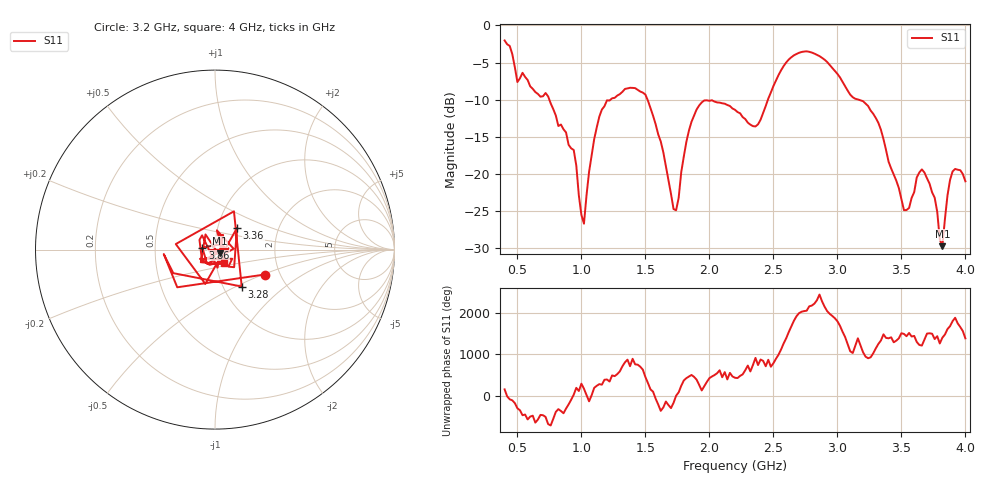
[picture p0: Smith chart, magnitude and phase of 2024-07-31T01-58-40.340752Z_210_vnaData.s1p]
!Created with skrf (http://scikit-rf.org).
# Hz S RI R 50.0
!freq ReS11 ImS11
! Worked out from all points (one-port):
!   181 points, 400 MHz to 4 GHz, reference 50 ohm
!   lowest |S11| = -29.7 dB at 3.82 GHz (marker M1), VSWR 1.07, Z = 52.6 - j2.08 ohm
!   |S11| at or under -10 dB: 749.4 MHz to 1.228 GHz (478.3 MHz wide, 48.4 % of centre); 1.516 GHz to 2.457 GHz (940.8 MHz wide, 47.3 % of centre); 3.166 GHz to end of sweep
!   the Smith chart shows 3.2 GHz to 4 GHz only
!   S11 on the Smith chart (normalised r, x): 3.2 GHz: 1.66, -0.51; 3.28 GHz: 1.22, -0.54; 3.36 GHz: 1.24, +0.31; 3.86 GHz: 0.87, +0.02; 4 GHz: 1.10, -0.16
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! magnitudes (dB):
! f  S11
! 400 MHz  -2.0
! 500 MHz  -7.6
! 720 MHz  -9.1
! 860 MHz  -14.0
! 940 MHz  -16.8
! 1.02 GHz  -26.7
! 1.14 GHz  -12.3
! 1.3 GHz  -9.3
! 1.5 GHz  -9.3
! 1.72 GHz  -24.7
! 1.76 GHz  -23.2
! 1.82 GHz  -15.7
! 1.92 GHz  -10.8
! 2.2 GHz  -11.4
! 2.38 GHz  -13.3
! 2.66 GHz  -4.0
! 2.88 GHz  -4.4
! 3.1 GHz  -9.3
! 3.2 GHz  -10.2
! 3.28 GHz  -11.9
! 3.36 GHz  -15.3
! 3.56 GHz  -24.6
! 3.66 GHz  -19.4
! 3.76 GHz  -23.2
! 3.82 GHz  -29.7
! 3.86 GHz  -22.9
! 3.92 GHz  -19.3
! 4 GHz  -21.0
